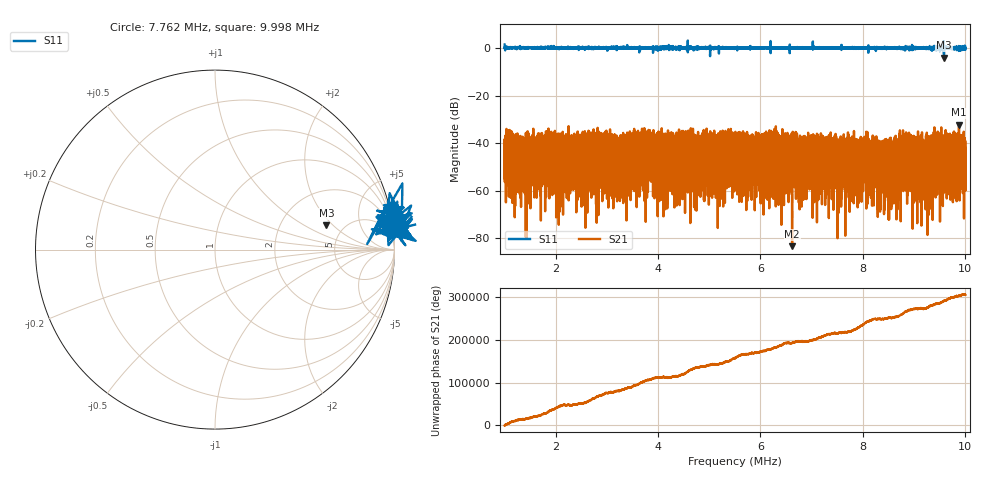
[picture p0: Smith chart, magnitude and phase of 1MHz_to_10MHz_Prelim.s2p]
# HZ S RI R 50
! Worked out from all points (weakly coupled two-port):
!   20200 points, 1 MHz to 10.01 MHz, reference 50 ohm
!   highest |S21| = -32.16 dB at 9.883 MHz (marker M1); lowest = -83.4 dB at 6.621 MHz (marker M2)
!   lowest |S11| = -3.9 dB at 9.59 MHz (marker M3), VSWR 4.48, Z = 183 + j83.5 ohm
!   |S11| at or under -10 dB: nowhere
!   S12 and S22 are empty: the file has one direction only
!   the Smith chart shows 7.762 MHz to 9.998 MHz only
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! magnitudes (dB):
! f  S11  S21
! 1 MHz  1.6  -39.0
! 1.095 MHz  0.2  -46.9
! 1.416 MHz  0.4  -35.6
! 1.866 MHz  0.2  -40.5
! 2.048 MHz  0.3  -47.3
! 2.502 MHz  0.4  -40.9
! 3.644 MHz  0.2  -38.0
! 4.003 MHz  0.1  -48.5
! 4.596 MHz  0.5  -47.8
! 4.854 MHz  0.2  -42.6
! 5.505 MHz  0.4  -46.3
! 6.621 MHz  0.2  -83.4
! 7.006 MHz  0.1  -44.8
! 7.216 MHz  0.1  -40.8
! 7.797 MHz  0.2  -49.3
! 8.049 MHz  0.1  -50.1
! 8.508 MHz  0.2  -48.1
! 8.761 MHz  0.4  -43.0
! 9.23 MHz  0.1  -43.3
! 9.59 MHz  -3.9  -57.8
! 9.883 MHz  0.1  -32.2
! 10.01 MHz  -0.4  -44.1
